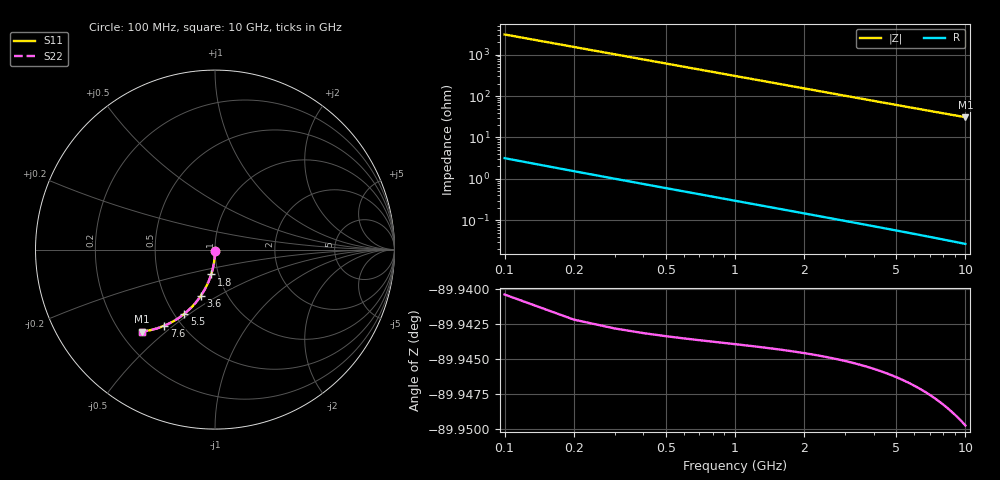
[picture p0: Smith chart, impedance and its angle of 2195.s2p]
# Hz S RI R 50.00
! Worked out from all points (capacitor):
!   100 points, 100 MHz to 10 GHz, reference 50 ohm
!   read as one part in shunt: C = 522 fF near 100 MHz
!   lowest |Z| = 30.9 ohm at 10 GHz (marker M1)
!   S11 on the Smith chart (normalised r, x): 100 MHz: 1.00, -0.02; 1.8 GHz: 0.92, -0.26; 3.6 GHz: 0.75, -0.42; 5.5 GHz: 0.56, -0.48; 7.6 GHz: 0.41, -0.46; 10 GHz: 0.29, -0.42
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1e8  5.58e-05 -0.00786  0.9998 -0.00854  0.9998 -0.00854  5.58e-05 -0.00786
2e8  -0.000153 -0.0157  0.9996 -0.0171  0.9996 -0.0171  -0.000153 -0.0157
3e8  -0.000495 -0.0236  0.9992 -0.0256  0.9992 -0.0256  -0.000495 -0.0236
4e8  -0.000972 -0.0314  0.9988 -0.0341  0.9988 -0.0341  -0.000972 -0.0314
5e8  -0.00158 -0.0392  0.9981 -0.0426  0.9981 -0.0426  -0.00158 -0.0392
6e8  -0.00232 -0.047  0.9974 -0.0511  0.9974 -0.0511  -0.00232 -0.047
8e8  -0.00421 -0.0626  0.9955 -0.068  0.9955 -0.068  -0.00421 -0.0626
1.1e9  -0.00801 -0.0858  0.9917 -0.0932  0.9917 -0.0932  -0.00801 -0.0858
1.4e9  -0.013 -0.1086  0.9867 -0.1181  0.9867 -0.1181  -0.013 -0.1086
1.8e9  -0.0213 -0.1384  0.9783 -0.1506  0.9783 -0.1506  -0.0213 -0.1384
2.1e9  -0.0288 -0.1602  0.9708 -0.1745  0.9708 -0.1745  -0.0288 -0.1602
2.5e9  -0.0404 -0.1884  0.9592 -0.2054  0.9592 -0.2054  -0.0404 -0.1884
2.9e9  -0.0537 -0.2155  0.9459 -0.2352  0.9459 -0.2352  -0.0537 -0.2155
3.4e9  -0.0724 -0.2475  0.9271 -0.2707  0.9271 -0.2707  -0.0724 -0.2475
3.6e9  -0.0805 -0.2597  0.9189 -0.2842  0.9189 -0.2842  -0.0805 -0.2597
4.3e9  -0.1112 -0.2996  0.8881 -0.3289  0.8881 -0.3289  -0.1112 -0.2996
5.1e9  -0.1499 -0.3395  0.8492 -0.3743  0.8492 -0.3743  -0.1499 -0.3395
5.5e9  -0.1703 -0.3571  0.8287 -0.3946  0.8287 -0.3946  -0.1703 -0.3571
6.7e9  -0.2342 -0.4004  0.7645 -0.4463  0.7645 -0.4463  -0.2342 -0.4004
7.6e9  -0.283 -0.4242  0.7154 -0.4764  0.7154 -0.4764  -0.283 -0.4242
8.4e9  -0.3259 -0.4397  0.6721 -0.4975  0.6721 -0.4975  -0.3259 -0.4397
1e10  -0.4081 -0.4566  0.5892 -0.5258  0.5892 -0.5258  -0.4081 -0.4566
